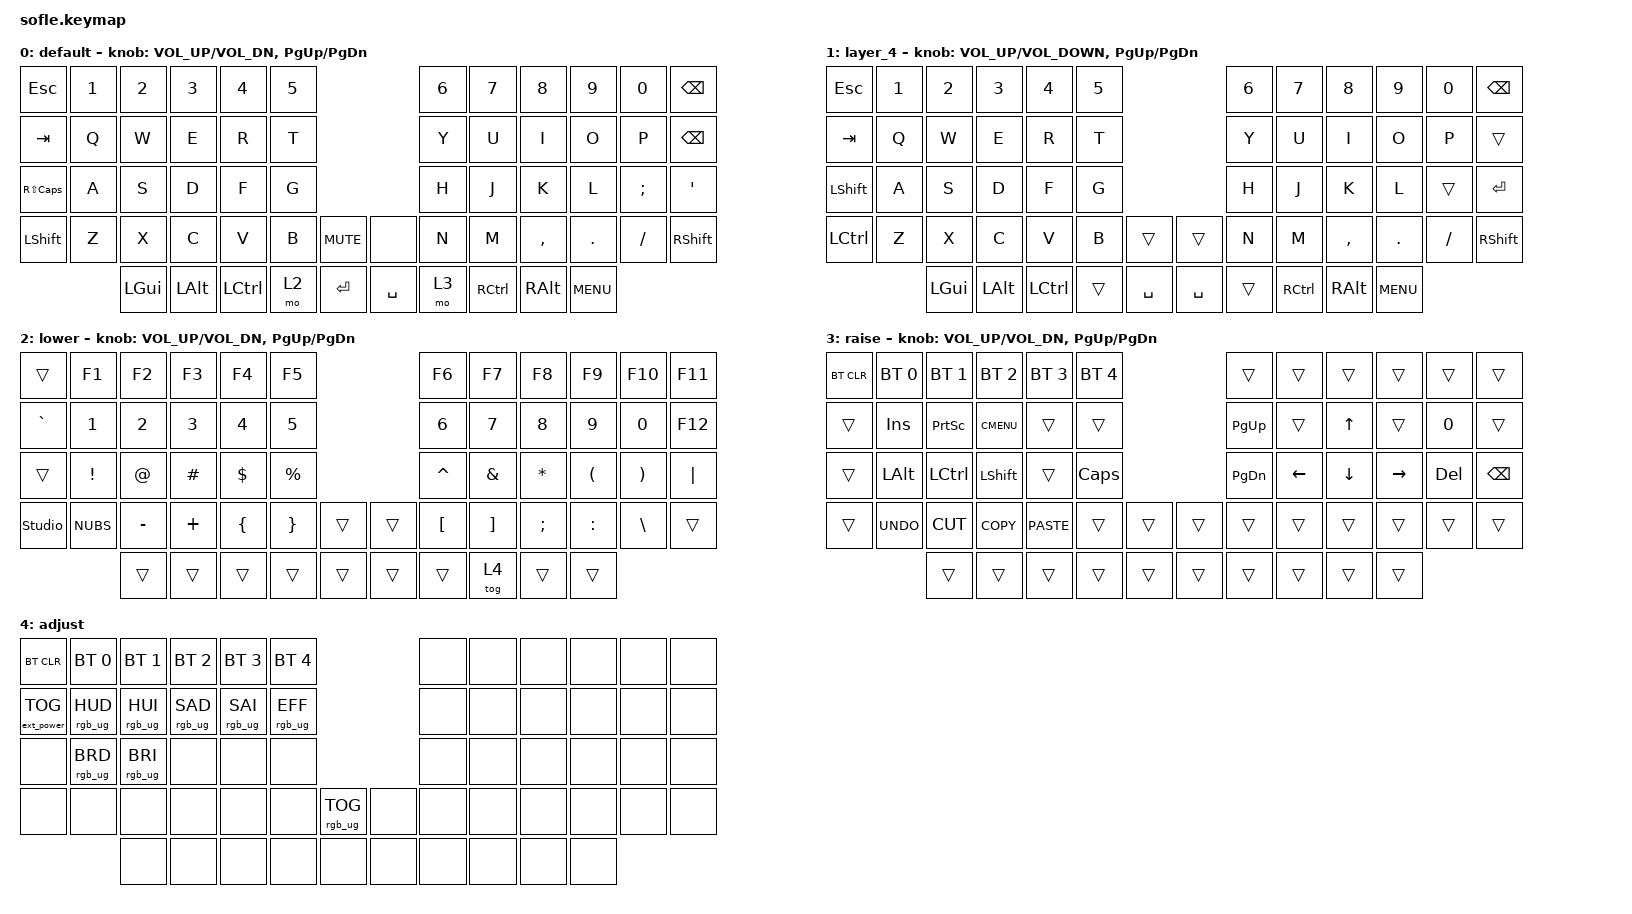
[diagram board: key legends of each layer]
/*
 * Copyright (c) 2020 The ZMK Contributors
 *
 * SPDX-License-Identifier: MIT
 */

#include <behaviors.dtsi>
#include <dt-bindings/zmk/bt.h>
#include <dt-bindings/zmk/ext_power.h>
#include <dt-bindings/zmk/keys.h>
#include <dt-bindings/zmk/rgb.h>

#define BASE 0
#define LOWER 1
#define RAISE 2
#define ADJUST 3

/ {
    // Activate ADJUST layer by pressing raise and lower

    conditional_layers {
        compatible = "zmk,conditional-layers";

        adjust_layer {
            if-layers = <2 3>;
            then-layer = <4>;
        };
    };

    keymap {
        compatible = "zmk,keymap";

        default_layer {
            display-name = "default";

            // ------------------------------------------------------------------------------------------------------------
            // |   `   |  1  |  2  |  3   |  4   |  5   |                   |  6   |  7    |  8    |  9   |   0   |       |
            // |  ESC  |  Q  |  W  |  E   |  R   |  T   |                   |  Y   |  U    |  I    |  O   |   P   | BKSPC |
            // |  TAB  |  A  |  S  |  D   |  F   |  G   |                   |  H   |  J    |  K    |  L   |   ;   |   '   |
            // | SHIFT |  Z  |  X  |  C   |  V   |  B   |  MUTE  |  |       |  N   |  M    |  ,    |  .   |   /   | SHIFT |
            //               | GUI | ALT  | CTRL | LOWER|  ENTER |  | SPACE | RAISE| CTRL  | ALT   | GUI  |

            bindings = <
&kp ESCAPE        &kp N1  &kp N2    &kp N3    &kp N4     &kp N5                           &kp N6  &kp N7     &kp N8     &kp N9      &kp N0    &kp BACKSPACE
&kp TAB           &kp Q   &kp W     &kp E     &kp R      &kp T                            &kp Y   &kp U      &kp I      &kp O       &kp P     &kp BSPC
&kp RS(CAPSLOCK)  &kp A   &kp S     &kp D     &kp F      &kp G                            &kp H   &kp J      &kp K      &kp L       &kp SEMI  &kp SQT
&kp LSHFT         &kp Z   &kp X     &kp C     &kp V      &kp B   &kp C_MUTE    &none      &kp N   &kp M      &kp COMMA  &kp DOT     &kp FSLH  &kp RSHFT
                          &kp LGUI  &kp LALT  &kp LCTRL  &mo 2   &kp RET       &kp SPACE  &mo 3   &kp RCTRL  &kp RALT   &kp C_MENU
            >;

            sensor-bindings = <&inc_dec_kp C_VOL_UP C_VOL_DN &inc_dec_kp PG_UP PG_DN>;
        };

        layer_4 {
            bindings = <
&kp ESC    &kp N1  &kp N2    &kp N3    &kp N4     &kp N5                          &kp N6  &kp N7     &kp N8     &kp N9      &kp N0    &kp BSPC
&kp TAB    &kp Q   &kp W     &kp E     &kp R      &kp T                           &kp Y   &kp U      &kp I      &kp O       &kp P     &trans
&kp LSHFT  &kp A   &kp S     &kp D     &kp F      &kp G                           &kp H   &kp J      &kp K      &kp L       &trans    &kp ENTER
&kp LCTRL  &kp Z   &kp X     &kp C     &kp V      &kp B   &trans       &trans     &kp N   &kp M      &kp COMMA  &kp DOT     &kp FSLH  &kp RSHFT
                   &kp LGUI  &kp LALT  &kp LCTRL  &trans  &kp SPACE    &kp SPACE  &trans  &kp RCTRL  &kp RALT   &kp C_MENU
            >;

            sensor-bindings =
                <&inc_dec_kp C_VOLUME_UP C_VOLUME_DOWN>,
                <&inc_dec_kp PAGE_UP PAGE_DOWN>;
        };

        lower_layer {
            display-name = "lower";

            // TODO: Some binds are waiting for shifted keycode support.
            // ------------------------------------------------------------------------------------------------------------
            // |       |  F1 |  F2 |  F3  |  F4  |  F5  |                   |  F6  |  F7   |  F8   |  F9  |  F10  |  F11  |
            // |   `   |  1  |  2  |  3   |  4   |  5   |                   |  6   |  7    |  8    |  9   |   0   |  F12  |
            // |       |  !  |  @  |  #   |  $   |  %   |                   |  ^   |  &    |  *    |  (   |   )   |   |   |
            // |       |  =  |  -  |  +   |  {   |  }   |        |  |       |  [   |  ]    |  ;    |  :   |   \   |       |
            //               |     |      |      |      |        |  |       |      |       |       |      |

            bindings = <
&trans     &kp F1    &kp F2     &kp F3    &kp F4    &kp F5                       &kp F6     &kp F7    &kp F8     &kp F9     &kp F10   &kp F11
&kp GRAVE  &kp N1    &kp N2     &kp N3    &kp N4    &kp N5                       &kp N6     &kp N7    &kp N8     &kp N9     &kp N0    &kp F12
&trans     &kp EXCL  &kp AT     &kp HASH  &kp DLLR  &kp PRCNT                    &kp CARET  &kp AMPS  &kp ASTRK  &kp LPAR   &kp RPAR  &kp PIPE
&studio_unlock     &kp NUBS  &kp MINUS  &kp PLUS  &kp LBRC  &kp RBRC   &trans    &trans  &kp LBKT   &kp RBKT  &kp SEMI   &kp COLON  &kp BSLH  &trans
                     &trans     &trans    &trans    &trans     &trans    &trans  &trans     &tog 4    &trans     &trans
            >;

            sensor-bindings = <&inc_dec_kp C_VOL_UP C_VOL_DN &inc_dec_kp PG_UP PG_DN>;
        };

        raise_layer {
            display-name = "raise";

            // ------------------------------------------------------------------------------------------------------------
            // | BTCLR | BT1  | BT2  |  BT3  |  BT4  |  BT5 |                |      |      |       |      |       |       |
            // |       | INS  | PSCR | GUI   |       |      |                | PGUP |      |   ^   |      |       |       |
            // |       | ALT  | CTRL | SHIFT |       | CAPS |                | PGDN |   <- |   v   |  ->  |  DEL  | BKSPC |
            // |       | UNDO | CUT  | COPY  | PASTE |      |      |  |      |      |      |       |      |       |       |
            //                |      |       |       |      |      |  |      |      |      |       |      |

            bindings = <
&bt BT_CLR  &bt BT_SEL 0  &bt BT_SEL 1  &bt BT_SEL 2  &bt BT_SEL 3  &bt BT_SEL 4                    &trans     &trans    &trans    &trans     &trans   &trans
&trans      &kp INS       &kp PSCRN     &kp K_CMENU   &trans        &trans                          &kp PG_UP  &trans    &kp UP    &trans     &kp N0   &trans
&trans      &kp LALT      &kp LCTRL     &kp LSHFT     &trans        &kp CLCK                        &kp PG_DN  &kp LEFT  &kp DOWN  &kp RIGHT  &kp DEL  &kp BSPC
&trans      &kp K_UNDO    &kp K_CUT     &kp K_COPY    &kp K_PASTE   &trans        &trans    &trans  &trans     &trans    &trans    &trans     &trans   &trans
                          &trans        &trans        &trans        &trans        &trans    &trans  &trans     &trans    &trans    &trans
            >;

            sensor-bindings = <&inc_dec_kp C_VOL_UP C_VOL_DN &inc_dec_kp PG_UP PG_DN>;
        };

        adjust_layer {
            // ----------------------------------------------------------------------------------------------------------------------------
            // | BTCLR  |  BT1    |  BT2    |   BT3   |   BT4   |   BT5   |                  |      |      |       |      |       |       |
            // | EXTPWR | RGB_HUD | RGB_HUI | RGB_SAD | RGB_SAI | RGB_EFF |                  |      |      |       |      |       |       |
            // |        | RGB_BRD | RGB_BRI |         |         |         |                  |      |      |       |      |       |       |
            // |        |         |         |         |         |         | RGB_TOG | |      |      |      |       |      |       |       |
            //                    |         |         |         |         |         | |      |      |      |       |      |

            display-name = "adjust";
            bindings = <
&bt BT_CLR         &bt BT_SEL 0     &bt BT_SEL 1     &bt BT_SEL 2     &bt BT_SEL 3     &bt BT_SEL 4                               &none  &none  &none  &none  &none  &none
&ext_power EP_TOG  &rgb_ug RGB_HUD  &rgb_ug RGB_HUI  &rgb_ug RGB_SAD  &rgb_ug RGB_SAI  &rgb_ug RGB_EFF                            &none  &none  &none  &none  &none  &none
&none              &rgb_ug RGB_BRD  &rgb_ug RGB_BRI  &none            &none            &none                                      &none  &none  &none  &none  &none  &none
&none              &none            &none            &none            &none            &none            &rgb_ug RGB_TOG    &none  &none  &none  &none  &none  &none  &none
                                    &none            &none            &none            &none            &none              &none  &none  &none  &none  &none
            >;
        };
    };
};
